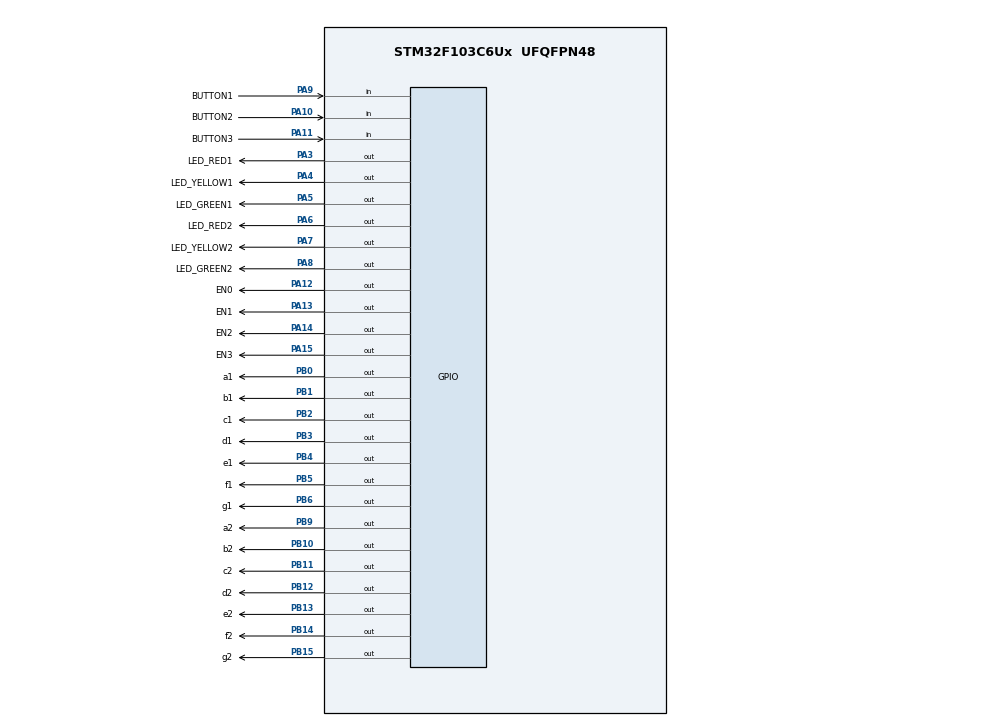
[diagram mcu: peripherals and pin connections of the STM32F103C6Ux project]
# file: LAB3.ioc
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Mcu.Family=STM32F1
Mcu.Name=STM32F103C6Ux
Mcu.Package=UFQFPN48
NVIC.PriorityGroup=NVIC_PRIORITYGROUP_4
NVIC.TIM2_IRQn=true\:0\:0\:false\:false\:true\:true\:true
PA10.GPIO_Label=BUTTON2
PA10.GPIO_PuPd=GPIO_PULLUP
PA10.Signal=GPIO_Input
PA11.GPIO_Label=BUTTON3
PA11.GPIO_PuPd=GPIO_PULLUP
PA11.Signal=GPIO_Input
PA12.GPIO_Label=EN0
PA12.Signal=GPIO_Output
PA13.GPIO_Label=EN1
PA13.Signal=GPIO_Output
PA14.GPIO_Label=EN2
PA14.Signal=GPIO_Output
PA15.GPIO_Label=EN3
PA15.Signal=GPIO_Output
PA3.GPIO_Label=LED_RED1
PA3.Signal=GPIO_Output
PA4.GPIO_Label=LED_YELLOW1
PA4.Signal=GPIO_Output
PA5.GPIO_Label=LED_GREEN1
PA5.Signal=GPIO_Output
PA6.GPIO_Label=LED_RED2
PA6.Signal=GPIO_Output
PA7.GPIO_Label=LED_YELLOW2
PA7.Signal=GPIO_Output
PA8.GPIO_Label=LED_GREEN2
PA8.Signal=GPIO_Output
PA9.GPIO_Label=BUTTON1
PA9.GPIO_PuPd=GPIO_PULLUP
PA9.Signal=GPIO_Input
PB0.GPIO_Label=a1
PB0.Signal=GPIO_Output
PB1.GPIO_Label=b1
PB1.Signal=GPIO_Output
PB10.GPIO_Label=b2
PB10.Signal=GPIO_Output
PB11.GPIO_Label=c2
PB11.Signal=GPIO_Output
PB12.GPIO_Label=d2
PB12.Signal=GPIO_Output
PB13.GPIO_Label=e2
PB13.Signal=GPIO_Output
PB14.GPIO_Label=f2
PB14.Signal=GPIO_Output
PB15.GPIO_Label=g2
PB15.Signal=GPIO_Output
PB2.GPIO_Label=c1
PB2.Signal=GPIO_Output
PB3.GPIO_Label=d1
PB3.Signal=GPIO_Output
PB4.GPIO_Label=e1
PB4.Signal=GPIO_Output
PB5.GPIO_Label=f1
PB5.Signal=GPIO_Output
PB6.GPIO_Label=g1
PB6.Signal=GPIO_Output
PB9.GPIO_Label=a2
PB9.Signal=GPIO_Output
ProjectManager.HeapSize=0x200
ProjectManager.StackSize=0x400
ProjectManager.TargetToolchain=STM32CubeIDE
RCC.APB1Freq_Value=8000000
RCC.APB2Freq_Value=8000000
TIM2.Period=9
TIM2.Prescaler=7999
VP_SYS_VS_ND.Mode=No_Debug
VP_TIM2_VS_ClockSourceINT.Mode=Internal
board=custom

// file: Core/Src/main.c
/* USER CODE BEGIN Header */
/**
  ******************************************************************************
  * @file           : main.c
  * @brief          : Main program body
  ******************************************************************************
  * @attention
  *
  * <h2><center>&copy; Copyright (c) 2022 STMicroelectronics.
  * All rights reserved.</center></h2>
  *
  * This software component is licensed by ST under BSD 3-Clause license,
  * the "License"; You may not use this file except in compliance with the
  * License. You may obtain a copy of the License at:
  *                        opensource.org/licenses/BSD-3-Clause
  *
  ******************************************************************************
  */
/* USER CODE END Header */
#include "main.h"

/* USER CODE BEGIN Includes */
#include "display_LED.h"
#include "fsm_automatic.h"
#include "fsm_manual.h"
#include "global.h"
#include "input_reading.h"
#include "software_timer.h"
/* USER CODE END Includes */

TIM_HandleTypeDef htim2;

void SystemClock_Config(void);
static void MX_GPIO_Init(void);
static void MX_TIM2_Init(void);

int main(void)
{

  /* MCU Configuration--------------------------------------------------------*/

  /* Reset of all peripherals, Initializes the Flash interface and the Systick. */
  HAL_Init();

  /* Configure the system clock */
  SystemClock_Config();

  /* Initialize all configured peripherals */
  MX_GPIO_Init();
  MX_TIM2_Init();
  /* USER CODE BEGIN 2 */
  HAL_TIM_Base_Start_IT(&htim2);
  /* USER CODE END 2 */

  /* Infinite loop */
  /* USER CODE BEGIN WHILE */

  //setup time to display traffic light
  red_time = RED_TIME;
  green_time = GREEN_TIME;
  yellow_time = YELLOW_TIME;

  // Initial status
  status1 = INIT;
  status2 = INIT;
  status3 = -1;

  // Reset counter of LEDs
  count_down1 = 0; //counter for LED1s
  count_down2 = 0; //counter for LED2s

  //turn off all led
  ClearAllLED();

  //turn off LEDSEG
  ClearLEDSEG();

  while (1)
  {
    /* USER CODE END WHILE */

    /* USER CODE BEGIN 3 */
	  fsm_automatic_run1();
	  fsm_automatic_run2();
	  fsm_manual_run();
  }
  /* USER CODE END 3 */
}

void SystemClock_Config(void)
{
  RCC_OscInitTypeDef RCC_OscInitStruct = {0};
  RCC_ClkInitTypeDef RCC_ClkInitStruct = {0};

  /** Initializes the RCC Oscillators according to the specified parameters
  * in the RCC_OscInitTypeDef structure.
  */
  RCC_OscInitStruct.OscillatorType = RCC_OSCILLATORTYPE_HSI;
  RCC_OscInitStruct.HSIState = RCC_HSI_ON;
  RCC_OscInitStruct.HSICalibrationValue = RCC_HSICALIBRATION_DEFAULT;
  RCC_OscInitStruct.PLL.PLLState = RCC_PLL_NONE;
  if (HAL_RCC_OscConfig(&RCC_OscInitStruct) != HAL_OK)
  {
    Error_Handler();
  }
  /** Initializes the CPU, AHB and APB buses clocks
  */
  RCC_ClkInitStruct.ClockType = RCC_CLOCKTYPE_HCLK|RCC_CLOCKTYPE_SYSCLK
                              |RCC_CLOCKTYPE_PCLK1|RCC_CLOCKTYPE_PCLK2;
  RCC_ClkInitStruct.SYSCLKSource = RCC_SYSCLKSOURCE_HSI;
  RCC_ClkInitStruct.AHBCLKDivider = RCC_SYSCLK_DIV1;
  RCC_ClkInitStruct.APB1CLKDivider = RCC_HCLK_DIV1;
  RCC_ClkInitStruct.APB2CLKDivider = RCC_HCLK_DIV1;

  if (HAL_RCC_ClockConfig(&RCC_ClkInitStruct, FLASH_LATENCY_0) != HAL_OK)
  {
    Error_Handler();
  }
}

static void MX_TIM2_Init(void)
{

  TIM_ClockConfigTypeDef sClockSourceConfig = {0};
  TIM_MasterConfigTypeDef sMasterConfig = {0};

  htim2.Instance = TIM2;
  htim2.Init.Prescaler = 7999;
  htim2.Init.CounterMode = TIM_COUNTERMODE_UP;
  htim2.Init.Period = 9;
  htim2.Init.ClockDivision = TIM_CLOCKDIVISION_DIV1;
  htim2.Init.AutoReloadPreload = TIM_AUTORELOAD_PRELOAD_DISABLE;
  if (HAL_TIM_Base_Init(&htim2) != HAL_OK)
  {
    Error_Handler();
  }
  sClockSourceConfig.ClockSource = TIM_CLOCKSOURCE_INTERNAL;
  if (HAL_TIM_ConfigClockSource(&htim2, &sClockSourceConfig) != HAL_OK)
  {
    Error_Handler();
  }
  sMasterConfig.MasterOutputTrigger = TIM_TRGO_RESET;
  sMasterConfig.MasterSlaveMode = TIM_MASTERSLAVEMODE_DISABLE;
  if (HAL_TIMEx_MasterConfigSynchronization(&htim2, &sMasterConfig) != HAL_OK)
  {
    Error_Handler();
  }

}

static void MX_GPIO_Init(void)
{
  GPIO_InitTypeDef GPIO_InitStruct = {0};

  /* GPIO Ports Clock Enable */
  __HAL_RCC_GPIOA_CLK_ENABLE();
  __HAL_RCC_GPIOB_CLK_ENABLE();

  /*Configure GPIO pin Output Level */
  HAL_GPIO_WritePin(GPIOA, LED_RED1_Pin|LED_YELLOW1_Pin|LED_GREEN1_Pin|LED_RED2_Pin
                          |LED_YELLOW2_Pin|LED_GREEN2_Pin|EN0_Pin|EN1_Pin
                          |EN2_Pin|EN3_Pin, GPIO_PIN_RESET);

  /*Configure GPIO pin Output Level */
  HAL_GPIO_WritePin(GPIOB, a1_Pin|b1_Pin|c1_Pin|b2_Pin
                          |c2_Pin|d2_Pin|e2_Pin|f2_Pin
                          |g2_Pin|d1_Pin|e1_Pin|f1_Pin
                          |g1_Pin|a2_Pin, GPIO_PIN_RESET);

  /*Configure GPIO pins : LED_RED1_Pin LED_YELLOW1_Pin LED_GREEN1_Pin LED_RED2_Pin
                           LED_YELLOW2_Pin LED_GREEN2_Pin EN0_Pin EN1_Pin
                           EN2_Pin EN3_Pin */
  GPIO_InitStruct.Pin = LED_RED1_Pin|LED_YELLOW1_Pin|LED_GREEN1_Pin|LED_RED2_Pin
                          |LED_YELLOW2_Pin|LED_GREEN2_Pin|EN0_Pin|EN1_Pin
                          |EN2_Pin|EN3_Pin;
  GPIO_InitStruct.Mode = GPIO_MODE_OUTPUT_PP;
  GPIO_InitStruct.Pull = GPIO_NOPULL;
  GPIO_InitStruct.Speed = GPIO_SPEED_FREQ_LOW;
  HAL_GPIO_Init(GPIOA, &GPIO_InitStruct);

  /*Configure GPIO pins : a1_Pin b1_Pin c1_Pin b2_Pin
                           c2_Pin d2_Pin e2_Pin f2_Pin
                           g2_Pin d1_Pin e1_Pin f1_Pin
                           g1_Pin a2_Pin */
  GPIO_InitStruct.Pin = a1_Pin|b1_Pin|c1_Pin|b2_Pin
                          |c2_Pin|d2_Pin|e2_Pin|f2_Pin
                          |g2_Pin|d1_Pin|e1_Pin|f1_Pin
                          |g1_Pin|a2_Pin;
  GPIO_InitStruct.Mode = GPIO_MODE_OUTPUT_PP;
  GPIO_InitStruct.Pull = GPIO_NOPULL;
  GPIO_InitStruct.Speed = GPIO_SPEED_FREQ_LOW;
  HAL_GPIO_Init(GPIOB, &GPIO_InitStruct);

  /*Configure GPIO pins : BUTTON1_Pin BUTTON2_Pin BUTTON3_Pin */
  GPIO_InitStruct.Pin = BUTTON1_Pin|BUTTON2_Pin|BUTTON3_Pin;
  GPIO_InitStruct.Mode = GPIO_MODE_INPUT;
  GPIO_InitStruct.Pull = GPIO_PULLUP;
  HAL_GPIO_Init(GPIOA, &GPIO_InitStruct);

}

/* USER CODE BEGIN 4 */
void HAL_TIM_PeriodElapsedCallback(TIM_HandleTypeDef *htim) {
	timerRun();
	getKeyInput();
}
/* USER CODE END 4 */

void Error_Handler(void)
{
  __disable_irq();
  while (1)
  {
  }
}

/************************ (C) COPYRIGHT STMicroelectronics *****END OF FILE****/
